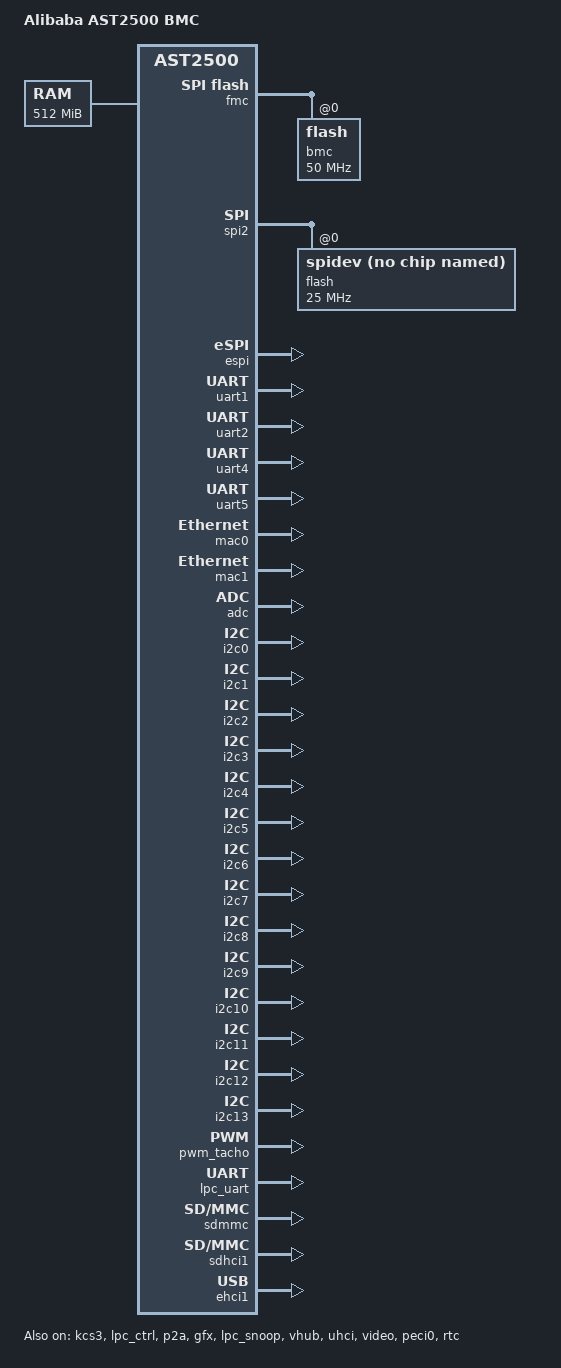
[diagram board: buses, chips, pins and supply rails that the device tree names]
// SPDX-License-Identifier: GPL-2.0+
/dts-v1/;
#include "aspeed-g5.dtsi"
#include <dt-bindings/gpio/aspeed-gpio.h>
/ {
	model = "Alibaba AST2500 BMC";
	compatible = "alibaba,thor", "aspeed,ast2500";
	aliases {
		serial4 = &uart5;
		spi2 = &spi2;
	};
	chosen {
		stdout-path = &uart5;
		bootargs = "console=tty0 console=ttyS4,115200 earlyprintk";
	};
	memory@80000000 {
		device_type = "memory";
		reg = <0x80000000 0x20000000>;
	};
	reserved-memory {
		#address-cells = <1>;
		#size-cells = <1>;
		ranges;
		vga_memory: framebuffer@9f000000 {
			no-map;
			reg = <0x9f000000 0x01000000>; /* 16M */
		};
		lpc_memory: region@98000000 {
			no-map;
			reg = <0x98000000 0x02000000>; /* 32M */
		};
		pci_memory: region@9A000000 {
			no-map;
			reg = <0x9A000000 0x00010000>; /* 64K */
		};
		video_engine_memory: jpegbuffer {
			size = <0x02800000>;	/* 40M */
			alignment = <0x01000000>;
			compatible = "shared-dma-pool";
			reusable;
		};
		gfx_memory: framebuffer {
			size = <0x01000000>;
			alignment = <0x01000000>;
			compatible = "shared-dma-pool";
			reusable;
		};
	};
};
&fmc {
	status = "okay";
	flash@0 {
		status = "okay";
		m25p,fast-read;
		label = "bmc";
		spi-max-frequency = <50000000>;
	};
};
&spi1 {
	status = "disabled";
	pinctrl-names = "default";
	pinctrl-0 = <&pinctrl_spi1_default>;
	flash@0 {
		status = "okay";
		m25p,fast-read;
		label = "pnor";
		spi-max-frequency = <100000000>;
	};
};
&spi2 {
	compatible = "aspeed,spi-dev";
	status = "okay";
	pinctrl-names = "default";
	pinctrl-0 = <&pinctrl_spi2ck_default
		     &pinctrl_spi2cs0_default
		     &pinctrl_spi2cs1_default
		     &pinctrl_spi2miso_default
		     &pinctrl_spi2mosi_default>;
	flash@0 {
		compatible = "rohm,dh2228fv";
		status = "okay";
		spi-max-frequency = <25000000>;
	};
};
&espi {
	status = "okay";
};
&kcs3 {
	kcs_addr = <0xca2>;
	status = "okay";
};
&lpc_ctrl {
	status = "okay";
	memory-region = <&lpc_memory>;
	flash = <&spi1>;
};
&p2a {
	status = "okay";
	memory-region = <&pci_memory>;
};
&mbox {
       status = "okay";
};
&uart1 {
	/* Rear RS-232 connector */
	status = "okay";
	pinctrl-names = "default";
	pinctrl-0 = <&pinctrl_txd1_default
			&pinctrl_rxd1_default
			&pinctrl_nrts1_default
			&pinctrl_ndtr1_default
			&pinctrl_ndsr1_default
			&pinctrl_ncts1_default
			&pinctrl_ndcd1_default
			&pinctrl_nri1_default>;
};
&uart2 {
	/* Rear RS-232 connector */
	status = "okay";
	pinctrl-names = "default";
	pinctrl-0 = <&pinctrl_txd2_default
			&pinctrl_rxd2_default
			&pinctrl_nrts2_default
			&pinctrl_ndtr2_default
			&pinctrl_ndsr2_default
			&pinctrl_ncts2_default
			&pinctrl_ndcd2_default
			&pinctrl_nri2_default>;
};
&uart4 {
	status = "okay";
};
&uart5 {
	status = "okay";
};
&mac0 {
	status = "okay";
	use-ncsi;
	pinctrl-names = "default";
	pinctrl-0 = <&pinctrl_rmii1_default>;
};
&mac1 {
	status = "okay";
	pinctrl-names = "default";
	pinctrl-0 = <&pinctrl_rgmii2_default &pinctrl_mdio2_default>;
};
&adc {
	status = "okay";
};
&i2c0 {
	status = "okay";
};
&i2c1 {
	status = "okay";
};
&i2c2 {
	status = "okay";
};
&i2c3 {
	status = "okay";
};
&i2c4 {
	status = "okay";
};
&i2c5 {
	status = "okay";
};
&i2c6 {
	status = "okay";
};
&i2c7 {
	status = "okay";
};
&i2c8 {
	status = "okay";
};
&i2c9 {
	status = "okay";
};
&i2c10 {
	status = "okay";
};
&i2c11 {
	status = "okay";
};
&i2c12 {
	status = "okay";
};
&i2c13 {
	status = "okay";
};
&vuart {
	status = "disabled";
};
&gfx {
	status = "okay";
};
&pinctrl {
	aspeed,external-nodes = <&gfx &lhc>;
};
&pwm_tacho {
	status = "okay";
	pinctrl-names = "default";
	pinctrl-0 = <&pinctrl_pwm0_default 
			&pinctrl_pwm1_default
			&pinctrl_pwm2_default
			&pinctrl_pwm3_default
			&pinctrl_pwm4_default
			&pinctrl_pwm5_default
			&pinctrl_pwm6_default
			&pinctrl_pwm7_default>;
	fan@0 {
		reg = <0x00>;
		aspeed,fan-tach-ch = /bits/ 8 <0x00 0x01>;
	};
	fan@1 {
		reg = <0x01>;
		aspeed,fan-tach-ch = /bits/ 8 <0x02 0x03>;
	};
	fan@2 {
		reg = <0x02>;
		aspeed,fan-tach-ch = /bits/ 8 <0x04 0x05>;
	};
	fan@3 {
		reg = <0x03>;
		aspeed,fan-tach-ch = /bits/ 8 <0x06 0x07>;
	};
	fan@4 {
		reg = <0x04>;
		aspeed,fan-tach-ch = /bits/ 8 <0x08 0x09>;
	};
	fan@5 {
		reg = <0x05>;
		aspeed,fan-tach-ch = /bits/ 8 <0x0a 0x0b>;
	};
	fan@6 {
		reg = <0x06>;
		aspeed,fan-tach-ch = /bits/ 8 <0x0c 0x0d>;
	};
	fan@7 {
		reg = <0x07>;
		aspeed,fan-tach-ch = /bits/ 8 <0x0e 0x0f>;
	};
};
&lpc_uart {
	status = "okay";
};
&ibt {
	status = "disabled";
};
&lpc_snoop {
	status = "okay";
	snoop-ports = <0x80>;
};
&sdmmc {
	status = "okay";
};
&sdhci1 {
	status = "okay";
	pinctrl-names = "default";
	pinctrl-0 = <&pinctrl_sd2_default>;
};
/*
 * Enable port A as device (via the virtual hub) and port B as
 * host by default on the eval board. This can be easily changed
 * by replacing the override below with &ehci0 { ... } to enable
 * host on both ports.
 */
&vhub {
	status = "okay";
};
&ehci1 {
	status = "okay";
};
&uhci {
	status = "okay";
};
&video {
	status = "okay";
	memory-region = <&video_engine_memory>;
};
&gfx {
     status = "okay";
     memory-region = <&gfx_memory>;
};
&peci0 {
	status = "okay";
};
&rtc {
	status = "okay";
};

